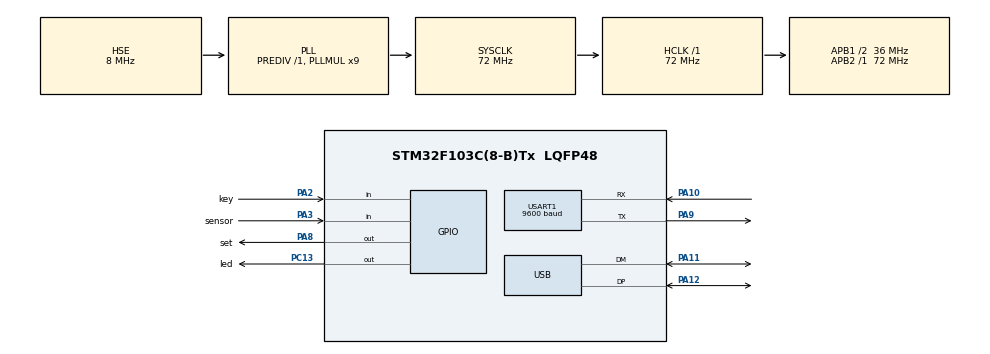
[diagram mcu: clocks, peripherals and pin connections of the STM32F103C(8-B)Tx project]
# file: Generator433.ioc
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FREERTOS.Queues01=AnswerQueue,16,uint16_t,0,Dynamic,NULL,NULL;RecQueue,16,uint16_t,0,Dynamic,NULL,NULL
FREERTOS.Tasks01=defaultTask,0,128,StartDefaultTask,Default,NULL,Dynamic,NULL,NULL;ConnectTask,0,512,ConnectTaskStart,Default,NULL,Dynamic,NULL,NULL;SensorTask,1,512,SensorTaskStart,Default,NULL,Dynamic,NULL,NULL;PowerTask,0,128,PowerTaskStart,Default,NULL,Dynamic,NULL,NULL
FREERTOS.configTOTAL_HEAP_SIZE=8192
Mcu.Family=STM32F1
Mcu.Name=STM32F103C(8-B)Tx
Mcu.Package=LQFP48
NVIC.PriorityGroup=NVIC_PRIORITYGROUP_4
NVIC.TIM4_IRQn=true\:5\:0\:false\:false\:true\:true\:true\:true
NVIC.USART1_IRQn=true\:5\:0\:false\:false\:true\:true\:true\:true
NVIC.USB_LP_CAN1_RX0_IRQn=true\:5\:0\:false\:false\:true\:true\:false\:true
PA10.Mode=Asynchronous
PA10.Signal=USART1_RX
PA11.Mode=Device
PA11.Signal=USB_DM
PA12.Mode=Device
PA12.Signal=USB_DP
PA13.Mode=Serial_Wire
PA13.Signal=SYS_JTMS-SWDIO
PA14.Mode=Serial_Wire
PA14.Signal=SYS_JTCK-SWCLK
PA2.GPIO_Label=key
PA2.GPIO_PuPd=GPIO_PULLUP
PA2.Signal=GPIO_Input
PA3.GPIO_Label=sensor
PA3.GPIO_PuPd=GPIO_PULLUP
PA3.Signal=GPIO_Input
PA8.GPIO_Label=set
PA8.Signal=GPIO_Output
PA9.Mode=Asynchronous
PA9.Signal=USART1_TX
PC13-TAMPER-RTC.GPIO_Label=led
PC13-TAMPER-RTC.Signal=GPIO_Output
PC14-OSC32_IN.Mode=LSE-External-Oscillator
PC14-OSC32_IN.Signal=RCC_OSC32_IN
PC15-OSC32_OUT.Mode=LSE-External-Oscillator
PC15-OSC32_OUT.Signal=RCC_OSC32_OUT
PD0-OSC_IN.Mode=HSE-External-Oscillator
PD0-OSC_IN.Signal=RCC_OSC_IN
PD1-OSC_OUT.Mode=HSE-External-Oscillator
PD1-OSC_OUT.Signal=RCC_OSC_OUT
ProjectManager.HeapSize=0x400
ProjectManager.StackSize=0x400
ProjectManager.TargetToolchain=MDK-ARM V5
RCC.AHBFreq_Value=72000000
RCC.APB1CLKDivider=RCC_HCLK_DIV2
RCC.APB1Freq_Value=36000000
RCC.APB1TimFreq_Value=72000000
RCC.APB2Freq_Value=72000000
RCC.APB2TimFreq_Value=72000000
RCC.HCLKFreq_Value=72000000
RCC.PLLMUL=RCC_PLL_MUL9
RCC.SYSCLKFreq_VALUE=72000000
RCC.SYSCLKSource=RCC_SYSCLKSOURCE_PLLCLK
RCC.USBFreq_Value=48000000
RCC.USBPrescaler=RCC_USBCLKSOURCE_PLL_DIV1_5
TIM4.Period=100
TIM4.Prescaler=720
USART1.BaudRate=9600
USART1.StopBits=STOPBITS_1
USART1.VirtualMode=VM_ASYNC
USB_DEVICE.CLASS_NAME_FS=CDC
USB_DEVICE.VirtualMode=Cdc
USB_DEVICE.VirtualModeFS=Cdc_FS
VP_FREERTOS_VS_CMSIS_V1.Mode=CMSIS_V1
VP_TIM4_VS_ClockSourceINT.Mode=Internal
VP_USB_DEVICE_VS_USB_DEVICE_CDC_FS.Mode=CDC_FS
board=custom

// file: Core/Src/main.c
/* USER CODE BEGIN Header */
/**
  ******************************************************************************
  * @file           : main.c
  * @brief          : Main program body
  ******************************************************************************
  * @attention
  *
  * <h2><center>&copy; Copyright (c) 2021 STMicroelectronics.
  * All rights reserved.</center></h2>
  *
  * This software component is licensed by ST under Ultimate Liberty license
  * SLA0044, the "License"; You may not use this file except in compliance with
  * the License. You may obtain a copy of the License at:
  *                             www.st.com/SLA0044
  *
  ******************************************************************************
  */
/* USER CODE END Header */
#include "main.h"
#include "cmsis_os.h"
#include "usb_device.h"

/* USER CODE BEGIN Includes */
#include "types.h"
#include "string.h"
#include "usbd_cdc_if.h"
#include "hdlc.h"
#include "intflash.h"
#include "hc12.h"

/* USER CODE END Includes */

/* USER CODE BEGIN PD */
#define ID_Current_Sensor 0x90000003
/* USER CODE END PD */

TIM_HandleTypeDef htim4;

UART_HandleTypeDef huart1;

osThreadId defaultTaskHandle;
osThreadId ConnectTaskHandle;
osThreadId SensorTaskHandle;
osThreadId PowerTaskHandle;
osMessageQId AnswerQueueHandle;
osMessageQId RecQueueHandle;
/* USER CODE BEGIN PV */
char report[30];
uint8_t recUart = 0;
extern interfaceHDLC_TX masterTX;
extern interfaceHDLC_RX masterRX;

extern uint8_t answerAT;
extern char hcAnswer[20];
structParameterHeader Param;

uint8_t HC12Mode = 0;
/* USER CODE END PV */

void SystemClock_Config(void);
static void MX_GPIO_Init(void);
static void MX_USART1_UART_Init(void);
static void MX_TIM4_Init(void);
void StartDefaultTask(void const * argument);
void ConnectTaskStart(void const * argument);
void SensorTaskStart(void const * argument);
void PowerTaskStart(void const * argument);

/* USER CODE BEGIN 0 */
void HAL_UART_RxCpltCallback(UART_HandleTypeDef *huart)
{
	switch((uint32_t)huart->Instance)
	{
		case (uint32_t)USART1: // 433MHz

					xQueueSendFromISR(RecQueueHandle, (void *)&recUart, pdFALSE);
					HAL_UART_Receive_IT(&huart1, (void *)&recUart, 1);
					break;
	}
	__NOP();
}

void SendPacket433(uint8_t ADR_DST, uint8_t ADR_SRC, uint32_t ID_Sensor,uint8_t Command)
{
	uint8_t trmdata[10];
	struct_HDLC_Header MasterHDLC;
	MasterHDLC.ADR_DST = ADR_DST;
	MasterHDLC.ADR_SRC = ADR_SRC;
	trmdata[0] = (uint8_t)(	ID_Sensor & 0x000000FF);
	trmdata[1] = (uint8_t)((ID_Sensor & 0x0000FF00)>>8);
	trmdata[2] = (uint8_t)((ID_Sensor & 0x00FF0000)>>16);
	trmdata[3] = (uint8_t)((ID_Sensor & 0xFF000000)>>24);
	send_Master_HDLC (MasterHDLC,Command, (char*)trmdata, 4);

}

structParameterHeader ReadParam()
{
	structParameterHeader result;

	flash_read(PARAM_START_ADDRESS,(uint32_t*)&result,sizeof(result) / 4);

	return result;
}

void WriteParam (structParameterHeader Parameter)
{

	flash_write(PARAM_START_ADDRESS, (uint32_t *)&Parameter, sizeof(Parameter) / 4);

}

structSensorHeader isSensorChange(structSensorHeader sens)
{
	structSensorHeader result = sens;

	result.change = 0;
	uint8_t SensorState = HAL_GPIO_ReadPin( sens.SensorPort,sens.SensorPin);

	if(SensorState == GPIO_PIN_RESET)
	{
		if(sens.countSensor<25)
			result.countSensor = sens.countSensor + 1;
		else
			result.countSensor = sens.countSensor;
	}
	else
	{
		if(sens.countSensor > 1)
			result.countSensor = sens.countSensor - 1;
		else
			result.countSensor = sens.countSensor;
	}

		if(result.countSensor > 20)
			result.sensor = GPIO_PIN_RESET;

		if(result.countSensor < 4)
			result.sensor = GPIO_PIN_SET;

		if(	result.sensor != sens.prevSensor )
		{
			result.change = 1;
			result.prevSensor = result.sensor;
		}

		return result;
}
/* USER CODE END 0 */

int main(void)
{

  /* MCU Configuration--------------------------------------------------------*/

  /* Reset of all peripherals, Initializes the Flash interface and the Systick. */
  HAL_Init();

  /* Configure the system clock */
  SystemClock_Config();

  /* Initialize all configured peripherals */
  MX_GPIO_Init();
  MX_USART1_UART_Init();
  MX_TIM4_Init();
  /* USER CODE BEGIN 2 */

//	sprintf(report,"Module start\r\n");

//	CDC_Transmit_FS((uint8_t*)report,strlen(report));
//  __enable_irq();
	HAL_UART_Receive_IT(&huart1, (void *)&recUart, 1);

	Param = ReadParam();

  /* USER CODE END 2 */

  /* Create the queue(s) */
  /* definition and creation of AnswerQueue */
  osMessageQDef(AnswerQueue, 16, uint16_t);
  AnswerQueueHandle = osMessageCreate(osMessageQ(AnswerQueue), NULL);

  /* definition and creation of RecQueue */
  osMessageQDef(RecQueue, 16, uint16_t);
  RecQueueHandle = osMessageCreate(osMessageQ(RecQueue), NULL);

  /* Create the thread(s) */
  /* definition and creation of defaultTask */
  osThreadDef(defaultTask, StartDefaultTask, osPriorityNormal, 0, 128);
  defaultTaskHandle = osThreadCreate(osThread(defaultTask), NULL);

  /* definition and creation of ConnectTask */
  osThreadDef(ConnectTask, ConnectTaskStart, osPriorityNormal, 0, 512);
  ConnectTaskHandle = osThreadCreate(osThread(ConnectTask), NULL);

  /* definition and creation of SensorTask */
  osThreadDef(SensorTask, SensorTaskStart, osPriorityAboveNormal, 0, 512);
  SensorTaskHandle = osThreadCreate(osThread(SensorTask), NULL);

  /* definition and creation of PowerTask */
  osThreadDef(PowerTask, PowerTaskStart, osPriorityNormal, 0, 128);
  PowerTaskHandle = osThreadCreate(osThread(PowerTask), NULL);

  /* Start scheduler */
  osKernelStart();

  /* We should never get here as control is now taken by the scheduler */
  /* Infinite loop */
  while (1)
  {

  }
}

void SystemClock_Config(void)
{
  RCC_OscInitTypeDef RCC_OscInitStruct = {0};
  RCC_ClkInitTypeDef RCC_ClkInitStruct = {0};
  RCC_PeriphCLKInitTypeDef PeriphClkInit = {0};

  /** Initializes the RCC Oscillators according to the specified parameters
  * in the RCC_OscInitTypeDef structure.
  */
  RCC_OscInitStruct.OscillatorType = RCC_OSCILLATORTYPE_HSE;
  RCC_OscInitStruct.HSEState = RCC_HSE_ON;
  RCC_OscInitStruct.HSEPredivValue = RCC_HSE_PREDIV_DIV1;
  RCC_OscInitStruct.HSIState = RCC_HSI_ON;
  RCC_OscInitStruct.PLL.PLLState = RCC_PLL_ON;
  RCC_OscInitStruct.PLL.PLLSource = RCC_PLLSOURCE_HSE;
  RCC_OscInitStruct.PLL.PLLMUL = RCC_PLL_MUL9;
  if (HAL_RCC_OscConfig(&RCC_OscInitStruct) != HAL_OK)
  {
    Error_Handler();
  }
  /** Initializes the CPU, AHB and APB buses clocks
  */
  RCC_ClkInitStruct.ClockType = RCC_CLOCKTYPE_HCLK|RCC_CLOCKTYPE_SYSCLK
                              |RCC_CLOCKTYPE_PCLK1|RCC_CLOCKTYPE_PCLK2;
  RCC_ClkInitStruct.SYSCLKSource = RCC_SYSCLKSOURCE_PLLCLK;
  RCC_ClkInitStruct.AHBCLKDivider = RCC_SYSCLK_DIV1;
  RCC_ClkInitStruct.APB1CLKDivider = RCC_HCLK_DIV2;
  RCC_ClkInitStruct.APB2CLKDivider = RCC_HCLK_DIV1;

  if (HAL_RCC_ClockConfig(&RCC_ClkInitStruct, FLASH_LATENCY_2) != HAL_OK)
  {
    Error_Handler();
  }
  PeriphClkInit.PeriphClockSelection = RCC_PERIPHCLK_USB;
  PeriphClkInit.UsbClockSelection = RCC_USBCLKSOURCE_PLL_DIV1_5;
  if (HAL_RCCEx_PeriphCLKConfig(&PeriphClkInit) != HAL_OK)
  {
    Error_Handler();
  }
}

static void MX_TIM4_Init(void)
{

  TIM_ClockConfigTypeDef sClockSourceConfig = {0};
  TIM_MasterConfigTypeDef sMasterConfig = {0};

  htim4.Instance = TIM4;
  htim4.Init.Prescaler = 720;
  htim4.Init.CounterMode = TIM_COUNTERMODE_UP;
  htim4.Init.Period = 100;
  htim4.Init.ClockDivision = TIM_CLOCKDIVISION_DIV1;
  htim4.Init.AutoReloadPreload = TIM_AUTORELOAD_PRELOAD_DISABLE;
  if (HAL_TIM_Base_Init(&htim4) != HAL_OK)
  {
    Error_Handler();
  }
  sClockSourceConfig.ClockSource = TIM_CLOCKSOURCE_INTERNAL;
  if (HAL_TIM_ConfigClockSource(&htim4, &sClockSourceConfig) != HAL_OK)
  {
    Error_Handler();
  }
  sMasterConfig.MasterOutputTrigger = TIM_TRGO_RESET;
  sMasterConfig.MasterSlaveMode = TIM_MASTERSLAVEMODE_DISABLE;
  if (HAL_TIMEx_MasterConfigSynchronization(&htim4, &sMasterConfig) != HAL_OK)
  {
    Error_Handler();
  }

}

static void MX_USART1_UART_Init(void)
{

  huart1.Instance = USART1;
  huart1.Init.BaudRate = 9600;
  huart1.Init.WordLength = UART_WORDLENGTH_8B;
  huart1.Init.StopBits = UART_STOPBITS_1;
  huart1.Init.Parity = UART_PARITY_NONE;
  huart1.Init.Mode = UART_MODE_TX_RX;
  huart1.Init.HwFlowCtl = UART_HWCONTROL_NONE;
  huart1.Init.OverSampling = UART_OVERSAMPLING_16;
  if (HAL_UART_Init(&huart1) != HAL_OK)
  {
    Error_Handler();
  }

}

static void MX_GPIO_Init(void)
{
  GPIO_InitTypeDef GPIO_InitStruct = {0};

  /* GPIO Ports Clock Enable */
  __HAL_RCC_GPIOC_CLK_ENABLE();
  __HAL_RCC_GPIOD_CLK_ENABLE();
  __HAL_RCC_GPIOA_CLK_ENABLE();

  /*Configure GPIO pin Output Level */
  HAL_GPIO_WritePin(led_GPIO_Port, led_Pin, GPIO_PIN_RESET);

  /*Configure GPIO pin Output Level */
  HAL_GPIO_WritePin(set_GPIO_Port, set_Pin, GPIO_PIN_RESET);

  /*Configure GPIO pin : led_Pin */
  GPIO_InitStruct.Pin = led_Pin;
  GPIO_InitStruct.Mode = GPIO_MODE_OUTPUT_PP;
  GPIO_InitStruct.Pull = GPIO_NOPULL;
  GPIO_InitStruct.Speed = GPIO_SPEED_FREQ_LOW;
  HAL_GPIO_Init(led_GPIO_Port, &GPIO_InitStruct);

  /*Configure GPIO pins : key_Pin sensor_Pin */
  GPIO_InitStruct.Pin = key_Pin|sensor_Pin;
  GPIO_InitStruct.Mode = GPIO_MODE_INPUT;
  GPIO_InitStruct.Pull = GPIO_PULLUP;
  HAL_GPIO_Init(GPIOA, &GPIO_InitStruct);

  /*Configure GPIO pin : set_Pin */
  GPIO_InitStruct.Pin = set_Pin;
  GPIO_InitStruct.Mode = GPIO_MODE_OUTPUT_PP;
  GPIO_InitStruct.Pull = GPIO_NOPULL;
  GPIO_InitStruct.Speed = GPIO_SPEED_FREQ_LOW;
  HAL_GPIO_Init(set_GPIO_Port, &GPIO_InitStruct);

}

void StartDefaultTask(void const * argument)
{
  /* init code for USB_DEVICE */
  MX_USB_DEVICE_Init();
  for(;;)
  {
    osDelay(1);
  }
}

void ConnectTaskStart(void const * argument)
{
  /* USER CODE BEGIN ConnectTaskStart */
	uint8_t recData;

	uint8_t answerIndex;
  /* Infinite loop */
  for(;;)
  {
		if(xQueueReceive(RecQueueHandle, &recData, portMAX_DELAY) != errQUEUE_EMPTY)
		{
			if(HC12Mode == 0)
			{
				recHDLC(recData);
				if(masterRX.Command != 0)
				{
					uint32_t ID_Sensor = (uint32_t)(masterRX.arg[0] + (masterRX.arg[1]<<8) +  (masterRX.arg[2]<<16) + (masterRX.arg[3]<<24));
					if(ID_Sensor == Param.ID)
					{
						xQueueSend(AnswerQueueHandle, (void *)&masterRX.Command, 100);
					}
					masterRX.Command = 0;
				}
				answerIndex = 0;
			}
			else
			{
				if(recData == 0x0D)
				{
					answerIndex = 0;
					answerAT = 1;
				}

				if(answerIndex < 20)
				{
					if((recData != 0x0A) & (recData != 0x0D) & (answerIndex < 20))
						hcAnswer[answerIndex++] = recData;
				}

			}

		}
   }
  /* USER CODE END ConnectTaskStart */
}

void SensorTaskStart(void const * argument)
{
  /* USER CODE BEGIN SensorTaskStart */
	uint8_t LiveCount = 0;
	uint8_t Answer = 0;
	uint8_t CountSend = 0;
	uint8_t CountSendMax = 5;
	uint8_t RecAnswer = 0;
	structSensorHeader gerkon;

	// Setup HC-12
	//void initHC12(uint16_t speed, uint8_t mode, uint8_t cannel, uint8_t power);
	osDelay(3000);
	gerkon.countSensor = 0;
	gerkon.sensor = GPIO_PIN_SET;
	gerkon.prevSensor = GPIO_PIN_SET;
	gerkon.SensorPort = sensor_GPIO_Port;
	gerkon.SensorPin = sensor_Pin;
	gerkon.change = 0;

	uint8_t resIni = initHC12(SPEED9600,FU3, 6, P8);
//	if (resIni == 1)
//		while(1);
	//initHC12(9600,3,4,8);
	modeModem();
	for(int index = 0; index < 10; index++)
	{
		HAL_GPIO_TogglePin(led_GPIO_Port,led_Pin);
		SendPacket433(Param.ADR_DST, Param.ADR_SRC, Param.ID,0x33);
		osDelay(300);
	}
//	SendPacket433(Param.ID,0x31);
  /* Infinite loop */
  for(;;)
  {
    gerkon = isSensorChange(gerkon);

		if(gerkon.change == 1)
		{
			//  send ALARM
			RecAnswer = 0;
			CountSend = 0;
			uint8_t SendCommand = 0x10;
			HAL_GPIO_WritePin(led_GPIO_Port,led_Pin,GPIO_PIN_RESET);
			if(gerkon.sensor == GPIO_PIN_SET)
			{
				SendCommand = 0x12;
				HAL_GPIO_WritePin(led_GPIO_Port,led_Pin,GPIO_PIN_SET);
			}

			while(RecAnswer == 0)
			{
				SendPacket433(Param.ADR_DST, Param.ADR_SRC, Param.ID,SendCommand);
				if(xQueueReceive(AnswerQueueHandle, &Answer, 200) != errQUEUE_EMPTY)
				{
					// answer return
					RecAnswer = 1;
				}
				if(++CountSend > CountSendMax)
				{
					// no answer
					break;
				}
			}

		}
//
//		if(++LiveCount > 49)
//		{
//			LiveCount = 0;
//			// send Live Packet
//			SendPacket433(ID_Current_Sensor,0x10);
//			if(xQueueReceive(AnswerQueueHandle, &Answer, 300) != errQUEUE_EMPTY)
//			{
//				// answer return
//			}
//			else
//			{
//				// answer no return
//				SendPacket433(ID_Current_Sensor,0x10);
//			}
//
//		}
//
//
		osDelay(10);
  }
  /* USER CODE END SensorTaskStart */
}

void PowerTaskStart(void const * argument)
{
  /* USER CODE BEGIN PowerTaskStart */
  /* Infinite loop */
  for(;;)
  {
    osDelay(35);
  }
  /* USER CODE END PowerTaskStart */
}

void Error_Handler(void)
{
  __disable_irq();
  while (1)
  {
  }
}

/************************ (C) COPYRIGHT STMicroelectronics *****END OF FILE****/
